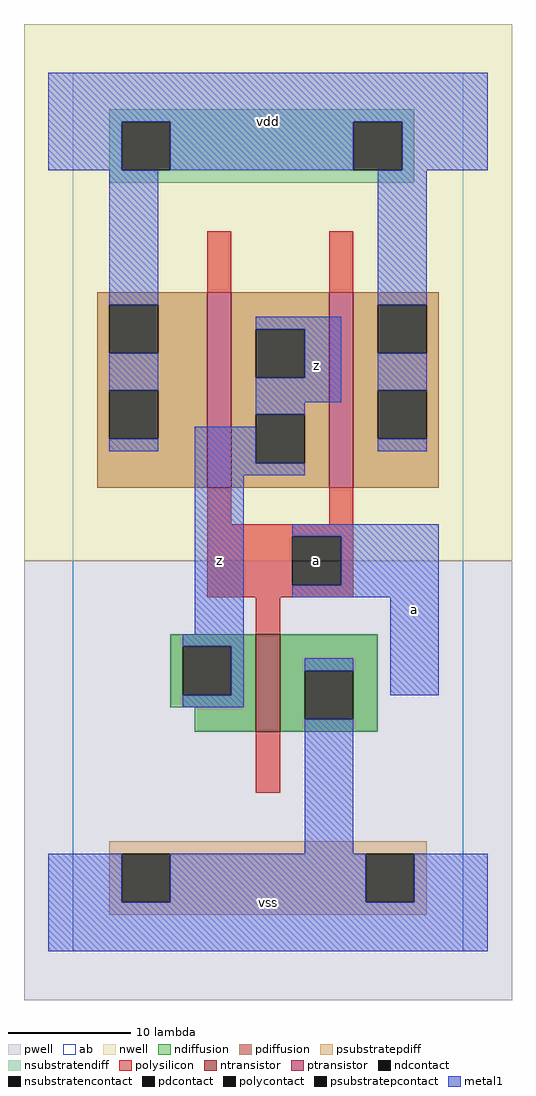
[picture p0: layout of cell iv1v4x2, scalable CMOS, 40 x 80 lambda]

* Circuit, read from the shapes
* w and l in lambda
.subckt iv1v4x2 a vdd vss z
M1 vss a z vss nfet w=8 l=2
M2 z a vdd vdd pfet w=16 l=2 m=2
.ends

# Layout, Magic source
magic
tech scmos
<< ab >>
rect 0 0 32 72
<< pwell >>
rect -4 -4 36 32
<< nwell >>
rect -4 32 36 76
<< polysilicon >>
rect 11 54 13 59
rect 21 54 23 59
rect 11 35 13 38
rect 21 35 23 38
rect 11 34 23 35
rect 11 30 18 34
rect 22 30 23 34
rect 11 29 23 30
rect 15 26 17 29
rect 15 13 17 18
<< ndiffusion >>
rect 8 25 15 26
rect 8 21 9 25
rect 13 21 15 25
rect 8 20 15 21
rect 10 18 15 20
rect 17 23 25 26
rect 17 19 19 23
rect 23 19 25 23
rect 17 18 25 19
<< pdiffusion >>
rect 2 53 11 54
rect 2 49 3 53
rect 7 49 11 53
rect 2 46 11 49
rect 2 42 3 46
rect 7 42 11 46
rect 2 38 11 42
rect 13 51 21 54
rect 13 47 15 51
rect 19 47 21 51
rect 13 44 21 47
rect 13 40 15 44
rect 19 40 21 44
rect 13 38 21 40
rect 23 53 30 54
rect 23 49 25 53
rect 29 49 30 53
rect 23 46 30 49
rect 23 42 25 46
rect 29 42 30 46
rect 23 38 30 42
<< metal1 >>
rect -2 68 34 72
rect -2 64 4 68
rect 8 64 23 68
rect 27 64 34 68
rect 3 53 7 64
rect 25 53 29 64
rect 3 46 7 49
rect 15 51 22 52
rect 19 47 22 51
rect 15 45 22 47
rect 25 46 29 49
rect 15 44 19 45
rect 3 41 7 42
rect 10 40 15 43
rect 25 41 29 42
rect 10 39 19 40
rect 10 26 14 39
rect 18 34 30 35
rect 22 30 30 34
rect 18 29 30 30
rect 9 25 14 26
rect 13 21 14 25
rect 9 20 14 21
rect 19 23 23 24
rect 26 21 30 29
rect 19 8 23 19
rect -2 4 4 8
rect 8 4 24 8
rect 28 4 34 8
rect -2 0 34 4
<< ntransistor >>
rect 15 18 17 26
<< ptransistor >>
rect 11 38 13 54
rect 21 38 23 54
<< polycontact >>
rect 18 30 22 34
<< ndcontact >>
rect 9 21 13 25
rect 19 19 23 23
<< pdcontact >>
rect 3 49 7 53
rect 3 42 7 46
rect 15 47 19 51
rect 15 40 19 44
rect 25 49 29 53
rect 25 42 29 46
<< psubstratepcontact >>
rect 4 4 8 8
rect 24 4 28 8
<< nsubstratencontact >>
rect 4 64 8 68
rect 23 64 27 68
<< psubstratepdiff >>
rect 3 8 29 9
rect 3 4 4 8
rect 8 4 24 8
rect 28 4 29 8
rect 3 3 29 4
<< nsubstratendiff >>
rect 3 68 28 69
rect 3 64 4 68
rect 8 64 23 68
rect 27 64 28 68
rect 3 63 28 64
<< labels >>
rlabel metal1 12 32 12 32 6 z
rlabel metal1 16 4 16 4 6 vss
rlabel polycontact 20 32 20 32 6 a
rlabel metal1 20 48 20 48 6 z
rlabel metal1 16 68 16 68 6 vdd
rlabel metal1 28 28 28 28 6 a
<< end >>
